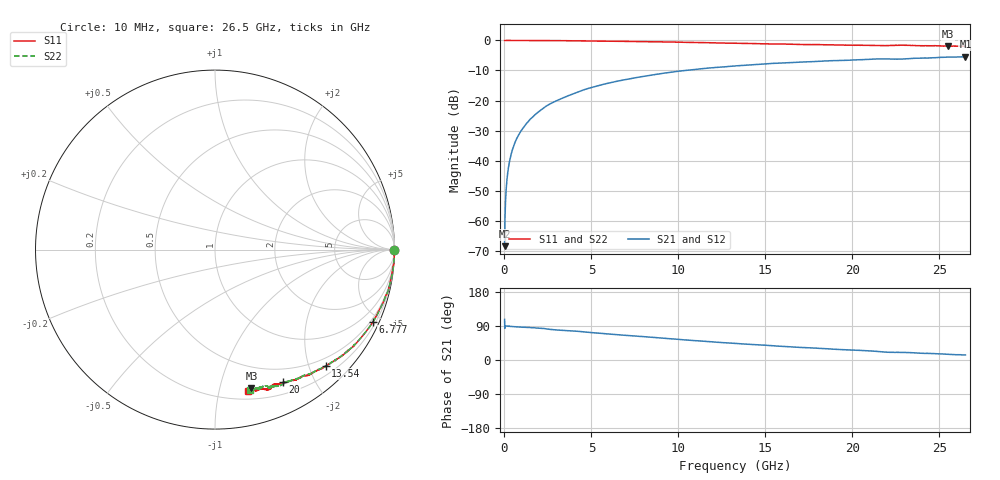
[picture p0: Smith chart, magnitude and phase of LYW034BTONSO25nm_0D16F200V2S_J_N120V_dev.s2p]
!Keysight Technologies,N5222B,MY61253708,A.15.00.15
!Date: Wednesday, June 19, 2024 09:50:31
!Correction: S11(C  2-Port  )
!S21(C  2-Port  )
!S12(C  2-Port  )
!S22(C  2-Port  )
!S2P File: Measurements: S11, S21, S12, S22:
# Hz S  RI  R 50
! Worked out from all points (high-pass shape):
!   2651 points, 10 MHz to 26.5 GHz, reference 50 ohm
!   highest |S21| = -5.39 dB at 26.5 GHz (marker M1); lowest = -68.5 dB at 10 MHz (marker M2)
!   |S21| within 3 dB of the highest: 13.45907 GHz to 13.48341 GHz (24.34 MHz wide, 0.181 % of centre); 13.51 GHz to end of sweep
!   lowest |S11| = -1.9 dB at 25.5 GHz (marker M3), VSWR 8.97, Z = 14.6 - j62.7 ohm
!   |S11| at or under -10 dB: nowhere
!   |S22| runs from -1.9 to 0.0 dB; largest |S21 - S12| = 0.0061
!   S11 on the Smith chart (normalised r, x): 10 MHz: open; 6.777 GHz: 0.37, -4.52; 13.54 GHz: 0.35, -2.29; 20 GHz: 0.33, -1.59; 26.5 GHz: 0.27, -1.22
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1e7  0.9988 -0.00258  -0.000109 0.00036  0.000123 0.000147  0.9985 -0.00158
7.997358e7  1 -0.00568  1.14e-06 0.00263  5.14e-06 0.00266  0.9994 -0.00529
1.499472e8  1 -0.0108  5.1e-05 0.00497  3.93e-05 0.00499  0.9995 -0.0102
1.899321e8  1 -0.0128  9.85e-05 0.00628  7.96e-05 0.0063  0.9997 -0.0121
2.399132e8  0.9996 -0.0165  0.000143 0.00793  0.00012 0.00798  0.9993 -0.0158
3.398755e8  0.9995 -0.0229  0.000275 0.0112  0.000266 0.0113  0.9994 -0.0221
4.598302e8  0.9989 -0.0311  0.000477 0.0152  0.000447 0.0153  0.9988 -0.0304
6.097736e8  0.9989 -0.0406  0.000822 0.0201  0.000803 0.0203  0.9988 -0.0404
7.997019e8  0.9982 -0.0532  0.00135 0.0262  0.00137 0.0264  0.9975 -0.0527
1.43946e9  0.9908 -0.0965  0.00334 0.0473  0.00342 0.0475  0.9932 -0.0936
2.319128e9  0.9822 -0.1505  0.00971 0.077  0.00996 0.0775  0.9832 -0.1513
3.198796e9  0.9715 -0.2063  0.0208 0.1034  0.0211 0.104  0.9708 -0.2061
4.428332e9  0.943 -0.2797  0.0382 0.1412  0.0386 0.142  0.9443 -0.2775
6.777445e9  0.8775 -0.4054  0.0897 0.199  0.0909 0.1996  0.8783 -0.406
8.846664e9  0.8042 -0.501  0.1444 0.2362  0.146 0.2368  0.8049 -0.5002
1.3255e10  0.6289 -0.6413  0.2714 0.2607  0.2737 0.2604  0.6312 -0.6403
1.354489e10  0.6165 -0.6484  0.2792 0.2595  0.2814 0.2595  0.6187 -0.6482
1.767333e10  0.4574 -0.7213  0.3777 0.2332  0.381 0.2315  0.4663 -0.7187
2.000245e10  0.3789 -0.7398  0.4236 0.2075  0.4266 0.2049  0.3898 -0.7391
2.209166e10  0.322 -0.7547  0.4604 0.1714  0.4621 0.1684  0.3145 -0.7602
2.550038e10  0.2031 -0.7731  0.5097 0.1351  0.5109 0.1344  0.2222 -0.7748
2.65e10  0.1835 -0.7869  0.5231 0.1237  0.5225 0.1199  0.1958 -0.7843
